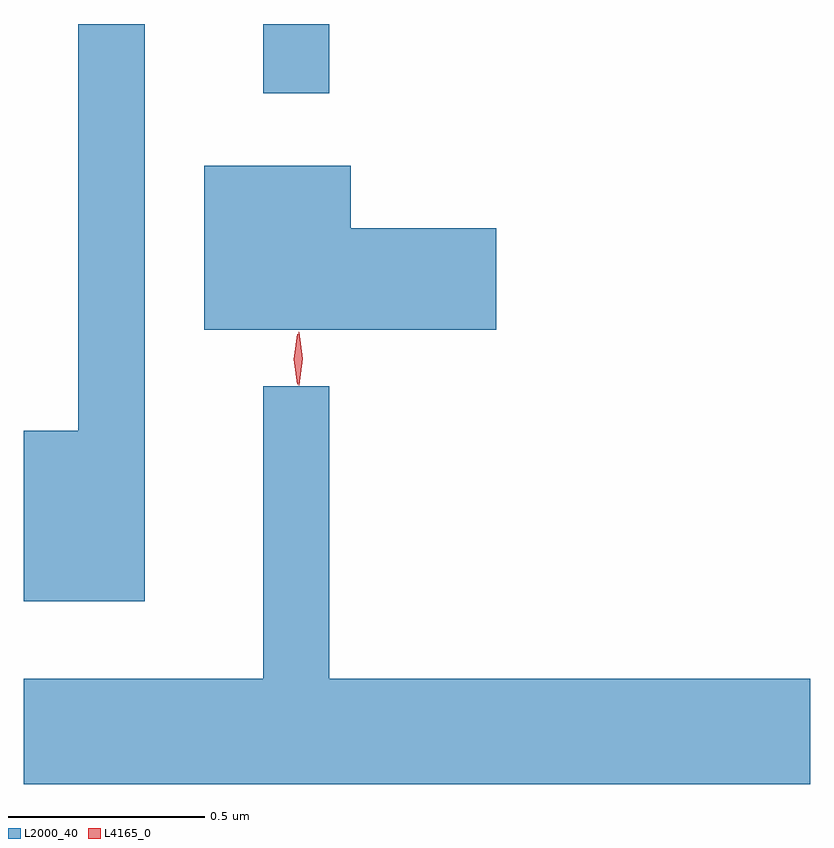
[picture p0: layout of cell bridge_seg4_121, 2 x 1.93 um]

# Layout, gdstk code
import gdstk
lib = gdstk.Library(unit=1e-6, precision=1e-09)
def R(c, l, rs):  # rectangles x0, y0, x1, y1
    for r in rs: c.add(gdstk.rectangle(r[:2], r[2:], *l))
def P(c, l, *ps):  # polygons
    for p in ps: c.add(gdstk.Polygon(p, *l))
L2000_40 = (2000, 40)
L4165_0 = (4165, 0)

bridge_seg4_121 = lib.new_cell('bridge_seg4_121')
R(bridge_seg4_121, L2000_40, [(806.531,1343.113,806.699,1343.289)])
P(bridge_seg4_121, L2000_40, [(806.229,1343.289),(806.061,1343.289),(806.061,1342.254),(805.922,1342.254),(805.922,1341.821),(806.229,1341.821)],
  [(807.124,1342.769),(806.754,1342.769),(806.754,1342.929),(806.381,1342.929),(806.381,1342.511),(807.124,1342.511)],
  [(807.922,1341.624),(806.699,1341.624),(806.699,1342.368),(806.531,1342.368),(806.531,1341.624),(805.922,1341.624),(805.922,1341.356),(807.922,1341.356)])
P(bridge_seg4_121, L4165_0, [(806.618,1342.373),(806.618,1342.373),(806.608,1342.436),(806.618,1342.5),(806.618,1342.5),(806.619,1342.5),(806.628,1342.436),(806.619,1342.373)],
  [(806.621,1342.37),(806.621,1342.37),(806.611,1342.438),(806.621,1342.505),(806.621,1342.506),(806.622,1342.505),(806.631,1342.438),(806.622,1342.37)])

lib.write_gds('bridge_seg4_121.gds')
